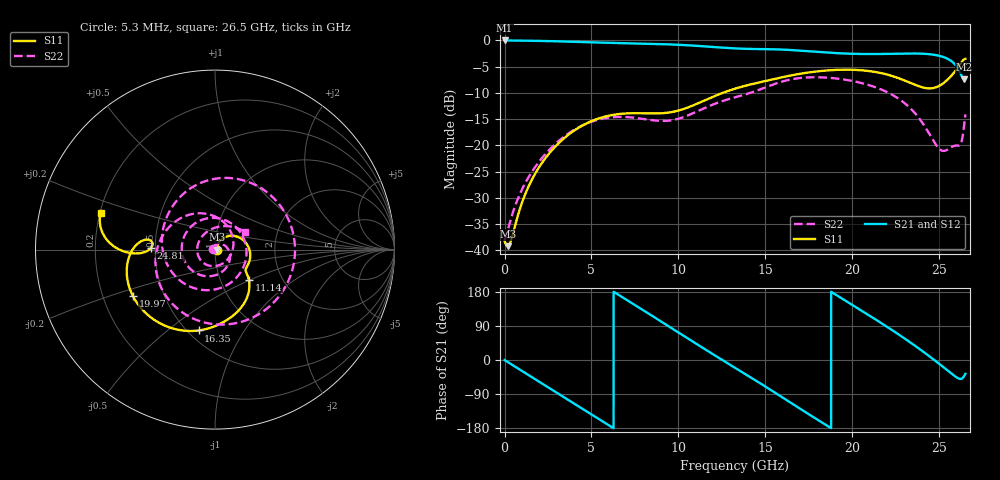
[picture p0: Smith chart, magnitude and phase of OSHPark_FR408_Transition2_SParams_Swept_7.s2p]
! TOUCHSTONE file generated by CST MICROWAVE STUDIO
! Date and time: Tue Jan  7 09:43:12 2020
! Project name: OSHPark_FR408_Transition2.cst
! Parameters = {GND_Plane_XMax=13; Cap_Disk_XOffset=0; Cap_Disk2_YCenter=-1.03; Cap_Disk_YCenter=1.03; Cap_Disk_XCenter=7.39; Cap_Disk_Radius=0.5; BottomSupport_Left_YMax=4.76; BottomSupport_Left_YMin=3.74; BottomSupport_Right_YMax=-3.74; BottomSupport_Right_YMin=-4.76; BottomSupport_XMax=11.64; Bot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
! Header version: 2015
! Port assignment regex: !\s*Touchstone port\s*([0-9]+)\s*=\s*CST MWS port\s*([0-9]+)\s*\(\"(.*)\"\)(\s*mode\s*([0-9]+))?.*
! Touchstone port assignment:
! Touchstone port 1 = CST MWS port 1 ("")
! Touchstone port 2 = CST MWS port 2 ("")
# GHz S MA R 50
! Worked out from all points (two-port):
!   5000 points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, 5.3 MHz to 26.5 GHz, reference 50 ohm
!   highest |S21| = 0.00 dB at 5.3 MHz (marker M1); lowest = -7.4 dB at 26.42 GHz (marker M2)
!   |S21| within 3 dB of the highest: start of sweep to 25.08 GHz
!   lowest |S11| = -39.2 dB at 185.5 MHz (marker M3), VSWR 1.02, Z = 51.1 + j0.0227 ohm
!   |S11| at or under -10 dB: start of sweep to 12.55 GHz
!   |S22| runs from -38.1 to -7.0 dB; largest |S21 - S12| = 0
!   S11 on the Smith chart (normalised r, x): 5.3 MHz: 1.02, -0.01; 11.14 GHz: 1.36, -0.49; 16.35 GHz: 0.57, -0.65; 19.97 GHz: 0.33, -0.24; 24.81 GHz: 0.47, +0.01; 26.5 GHz: 0.20, +0.16
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0.0053  0.01215 -23.2  0.9999 -0.2  0.9999 -0.2  0.01245 153.8
0.1855  0.01092 1.2  0.9994 -5.3  0.9994 -5.3  0.0157 127.8
1.2243  0.0353 61.0  0.9951 -35.3  0.9951 -35.3  0.04469 47.2
2.438  0.07869 54.4  0.9867 -70.3  0.9867 -70.3  0.08569 -16.0
4.4255  0.1527 25.5  0.966 -127.3  0.966 -127.3  0.1533 -104.1
5.5173  0.1827 7.7  0.9538 -158.4  0.9538 -158.4  0.1778 -149.8
6.5508  0.1985 -8.2  0.9437 172.1  0.9437 172.1  0.1866 166.1
8.8404  0.2015 -31.5  0.9245 106.3  0.9245 106.3  0.1713 52.8
9.9428  0.2133 -35.8  0.9102 74.3  0.9102 74.3  0.1781 -11.4
11.1406  0.2521 -41.6  0.8868 39.4  0.8868 39.4  0.2131 -77.9
13.2553  0.3469 -63.5  0.8398 -20.7  0.8398 -20.7  0.2871 -173.6
14.9354  0.4082 -83.9  0.827 -68.2  0.827 -68.2  0.3534 122.5
16.3505  0.4597 -101.4  0.8124 -109.7  0.8124 -109.7  0.421 62.8
17.6702  0.4999 -119.0  0.7844 -148.2  0.7844 -148.2  0.4456 3.5
18.9263  0.5224 -136.2  0.7596 175.9  0.7596 175.9  0.4365 -52.0
19.9704  0.5254 -150.6  0.7465 146.2  0.7465 146.2  0.4116 -96.4
22.0851  0.4686 -178.0  0.7449 84.9  0.7449 84.9  0.3163 175.1
23.4366  0.3878 171.8  0.7511 43.0  0.7511 43.0  0.2167 111.0
24.8146  0.3578 178.8  0.7243 -3.7  0.7243 -3.7  0.1007 4.7
25.7951  0.4822 -177.9  0.6159 -39.2  0.6159 -39.2  0.09807 -131.0
26.4205  0.6595 166.6  0.4244 -42.6  0.4244 -42.6  0.1516 58.9
26.5  0.6673 161.6  0.443 -36.5  0.443 -36.5  0.1971 28.4
